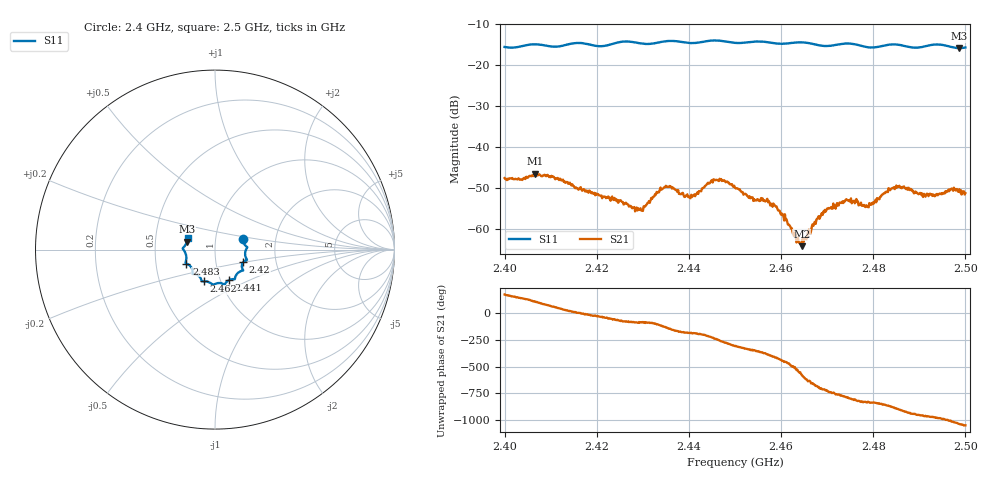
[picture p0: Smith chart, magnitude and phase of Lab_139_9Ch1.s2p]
# Hz S RI R 50
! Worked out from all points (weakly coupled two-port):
!   601 points, 2.4 GHz to 2.5 GHz, reference 50 ohm
!   highest |S21| = -46.50 dB at 2.4067 GHz (marker M1); lowest = -64.2 dB at 2.4645 GHz (marker M2)
!   lowest |S11| = -15.8 dB at 2.4987 GHz (marker M3), VSWR 1.39, Z = 36.4 + j3.27 ohm
!   |S11| at or under -10 dB: start of sweep to end of sweep
!   S12 and S22 are empty: the file has one direction only
!   S11 on the Smith chart (normalised r, x): 2.4 GHz: 1.36, +0.17; 2.42 GHz: 1.36, -0.20; 2.441 GHz: 1.10, -0.39; 2.462 GHz: 0.83, -0.30; 2.483 GHz: 0.72, -0.12; 2.5 GHz: 0.73, +0.09
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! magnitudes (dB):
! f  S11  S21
! 2.4 GHz  -15.5  -47.6
! 2.4067 GHz  -14.9  -46.5
! 2.4167 GHz  -14.6  -50.4
! 2.42 GHz  -15.3  -51.6
! 2.4295 GHz  -14.6  -55.0
! 2.4333 GHz  -14.4  -50.9
! 2.4355 GHz  -14.1  -49.7
! 2.441 GHz  -14.6  -51.8
! 2.4453 GHz  -13.9  -47.8
! 2.45 GHz  -14.5  -49.9
! 2.4585 GHz  -14.6  -54.0
! 2.462 GHz  -14.6  -59.4
! 2.4645 GHz  -14.4  -64.2
! 2.4667 GHz  -14.7  -59.4
! 2.4703 GHz  -15.3  -54.9
! 2.4747 GHz  -14.7  -53.2
! 2.4785 GHz  -15.5  -54.2
! 2.483 GHz  -15.0  -50.8
! 2.4833 GHz  -15.0  -50.0
! 2.4912 GHz  -15.4  -51.8
! 2.4987 GHz  -15.8  -50.3
! 2.5 GHz  -15.6  -51.3
